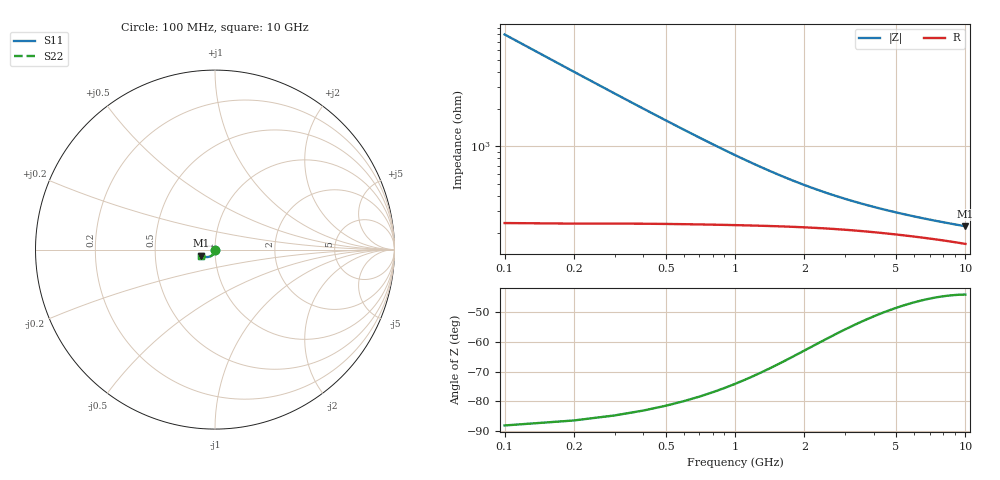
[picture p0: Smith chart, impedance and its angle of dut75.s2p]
! Touchstone file exported from HFSS 2024.1.0
!  File:  C:/UserFiles/LocalFiles/RDL_TSV_Batchsim/temp_TSV1_75_1778750599.aedt
!  Generated:  05:29:19 PM May 14, 2026
!  Design:  TSV1
!  Project:  temp_TSV1_75_1778750599
!  Setup:  Setup1
!  Solution:  Sweep
! Variables:
!  dtsv = 19.05um
!  hbump = 3um
!  htsv = 86.68um
!  lrdl = 252.1521522um
!  p = 40
!  p1 = 56.9um
!  t = 500um
!  trdl = 3um
!  wrdl = 24.89489489um
# GHz S MA R 50.000000
! Terminal data exported
! Port[1] = TSV22_T1
! Port[2] = TSV22_T2
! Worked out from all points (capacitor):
!   100 points, 100 MHz to 10 GHz, reference 50 ohm
!   read as one part in shunt: C = 199 fF near 100 MHz
!   lowest |Z| = 227 ohm at 10 GHz (marker M1)
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0.1  0.002746 -90.5  0.9998 -0.2  0.9998 -0.2  0.002746 -90.5
! Gamma 0 0 0 0
! Port Impedance 50 0 50 0
0.2  0.00551 -93.2  0.9995 -0.4  0.9995 -0.4  0.00551 -93.2
0.3  0.008244 -95.5  0.999 -0.6  0.999 -0.6  0.008244 -95.5
0.4  0.01094 -97.6  0.9983 -0.8  0.9983 -0.8  0.01094 -97.6
0.5  0.01359 -99.7  0.9975 -1.0  0.9975 -1.0  0.01359 -99.7
0.6  0.01618 -101.7  0.9965 -1.2  0.9965 -1.2  0.01618 -101.7
0.7  0.0187 -103.6  0.9954 -1.3  0.9954 -1.3  0.0187 -103.6
0.8  0.02115 -105.5  0.9942 -1.5  0.9942 -1.5  0.02115 -105.5
0.9  0.02352 -107.3  0.9929 -1.7  0.9929 -1.7  0.02352 -107.3
1.1  0.02802 -110.8  0.99 -2.0  0.99 -2.0  0.02802 -110.8
1.4  0.03412 -115.5  0.9854 -2.3  0.9854 -2.3  0.03412 -115.5
1.6  0.03777 -118.4  0.9823 -2.6  0.9823 -2.6  0.03777 -118.4
1.8  0.04109 -121.0  0.9791 -2.8  0.9791 -2.8  0.04109 -121.0
2.1  0.04554 -124.6  0.9746 -3.0  0.9746 -3.0  0.04554 -124.6
2.5  0.05059 -128.7  0.969 -3.3  0.969 -3.3  0.05059 -128.7
2.9  0.05484 -132.2  0.9639 -3.6  0.9639 -3.6  0.05484 -132.2
3.4  0.05927 -135.8  0.9583 -3.8  0.9583 -3.8  0.05927 -135.8
4.2  0.06491 -140.4  0.9509 -4.1  0.9509 -4.1  0.06491 -140.4
5.1  0.06978 -144.5  0.9442 -4.5  0.9442 -4.5  0.06978 -144.5
6.7  0.07598 -149.8  0.9355 -5.0  0.9355 -5.0  0.07598 -149.8
8.4  0.08045 -153.8  0.929 -5.5  0.929 -5.5  0.08045 -153.8
10  0.08343 -156.6  0.9247 -6.0  0.9247 -6.0  0.08343 -156.6
